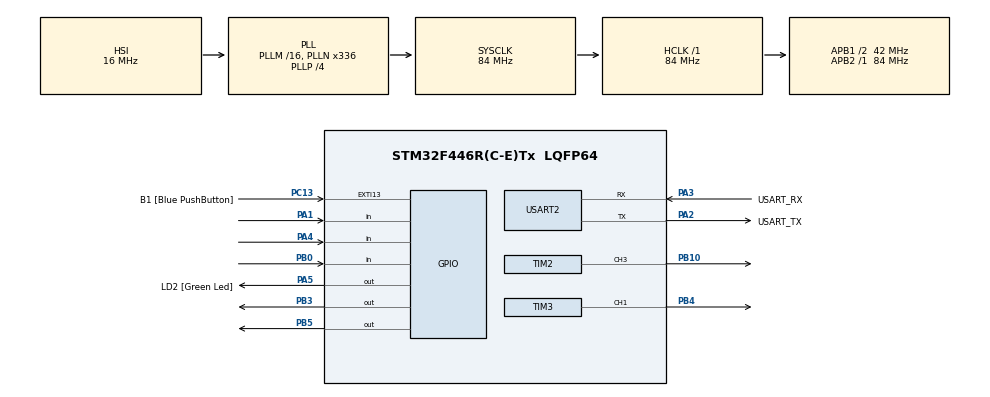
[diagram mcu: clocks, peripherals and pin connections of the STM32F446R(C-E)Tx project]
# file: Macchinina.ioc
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Mcu.Family=STM32F4
Mcu.Name=STM32F446R(C-E)Tx
Mcu.Package=LQFP64
NVIC.PriorityGroup=NVIC_PRIORITYGROUP_0
PA1.Signal=GPIO_Input
PA13.GPIO_Label=TMS
PA13.Mode=Serial_Wire
PA13.Signal=SYS_JTMS-SWDIO
PA14.GPIO_Label=TCK
PA14.Mode=Serial_Wire
PA14.Signal=SYS_JTCK-SWCLK
PA2.GPIO_Label=USART_TX
PA2.Mode=Asynchronous
PA2.Signal=USART2_TX
PA3.GPIO_Label=USART_RX
PA3.Mode=Asynchronous
PA3.Signal=USART2_RX
PA4.Signal=GPIO_Input
PA5.GPIO_Label=LD2 [Green Led]
PA5.Signal=GPIO_Output
PB0.Signal=GPIO_Input
PB10.Signal=S_TIM2_CH3
PB3.GPIO_PuPd=GPIO_PULLDOWN
PB3.PinState=GPIO_PIN_SET
PB3.Signal=GPIO_Output
PB4.Signal=S_TIM3_CH1
PB5.GPIO_PuPd=GPIO_PULLDOWN
PB5.PinState=GPIO_PIN_RESET
PB5.Signal=GPIO_Output
PC13.GPIO_Label=B1 [Blue PushButton]
PC13.GPIO_ModeDefaultEXTI=GPIO_MODE_IT_FALLING
PC13.Signal=GPXTI13
PC14-OSC32_IN.Mode=LSE-External-Oscillator
PC14-OSC32_IN.Signal=RCC_OSC32_IN
PC15-OSC32_OUT.Mode=LSE-External-Oscillator
PC15-OSC32_OUT.Signal=RCC_OSC32_OUT
PH0-OSC_IN.Mode=HSE-External-Oscillator
PH0-OSC_IN.Signal=RCC_OSC_IN
PH1-OSC_OUT.Mode=HSE-External-Oscillator
PH1-OSC_OUT.Signal=RCC_OSC_OUT
ProjectManager.HeapSize=0x200
ProjectManager.StackSize=0x400
ProjectManager.TargetToolchain=STM32CubeIDE
RCC.48MHZClocksFreq_Value=84000000
RCC.AHBFreq_Value=84000000
RCC.APB1CLKDivider=RCC_HCLK_DIV2
RCC.APB1Freq_Value=42000000
RCC.APB1TimFreq_Value=84000000
RCC.APB2Freq_Value=84000000
RCC.APB2TimFreq_Value=84000000
RCC.CortexFreq_Value=84000000
RCC.FLatency-AdvancedSettings=FLASH_LATENCY_2
RCC.HCLKFreq_Value=84000000
RCC.HSE_VALUE=8000000
RCC.HSI_VALUE=16000000
RCC.PLLN=336
RCC.PLLP=RCC_PLLP_DIV4
RCC.SYSCLKFreq_VALUE=84000000
RCC.SYSCLKSource=RCC_SYSCLKSOURCE_PLLCLK
RCC.USBFreq_Value=168000000
RCC.VCOOutputFreq_Value=336000000
SH.S_TIM2_CH3.0=TIM2_CH3,PWM Generation3 CH3
SH.S_TIM3_CH1.0=TIM3_CH1,PWM Generation1 CH1
TIM2.Channel-PWM\ Generation3\ CH3=TIM_CHANNEL_3
TIM2.Period=1000
TIM2.Prescaler=84
TIM2.Pulse-PWM\ Generation3\ CH3=800
TIM3.Channel-PWM\ Generation1\ CH1=TIM_CHANNEL_1
TIM3.Period=1000
TIM3.Prescaler=84
TIM3.Pulse-PWM\ Generation1\ CH1=800
USART2.VirtualMode=VM_ASYNC
VP_TIM2_VS_ClockSourceINT.Mode=Internal
VP_TIM3_VS_ClockSourceINT.Mode=Internal
board=NUCLEO-F446RE

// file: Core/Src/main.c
/* USER CODE BEGIN Header */
/**
  ******************************************************************************
  * @file           : main.c
  * @brief          : Main program body
  ******************************************************************************
  * @attention
  *
  * Copyright (c) 2023 STMicroelectronics.
  * All rights reserved.
  *
  * This software is licensed under terms that can be found in the LICENSE file
  * in the root directory of this software component.
  * If no LICENSE file comes with this software, it is provided AS-IS.
  *
  ******************************************************************************
  */
/* USER CODE END Header */
#include "main.h"
#include <string.h>
#include <stdio.h>
#include <stdbool.h>

TIM_HandleTypeDef htim2;
TIM_HandleTypeDef htim3;

UART_HandleTypeDef huart2;

void SystemClock_Config(void);
static void MX_GPIO_Init(void);
static void MX_USART2_UART_Init(void);
static void MX_TIM2_Init(void);
static void MX_TIM3_Init(void);

int main(void)
{
  /* USER CODE BEGIN 1 */
	char buf[1024]={'0'};

	GPIO_PinState GPIO_state1;
	GPIO_PinState GPIO_state2;
	GPIO_PinState GPIO_state3;
	bool isgoingveryleft = false;
	bool isgoingveryright = false;
  /* USER CODE END 1 */

  /* MCU Configuration--------------------------------------------------------*/

  /* Reset of all peripherals, Initializes the Flash interface and the Systick. */
  HAL_Init();

  /* Configure the system clock */
  SystemClock_Config();

  /* Initialize all configured peripherals */
  MX_GPIO_Init();
  MX_USART2_UART_Init();
  MX_TIM2_Init();
  MX_TIM3_Init();
  /* USER CODE BEGIN 2 */
  HAL_TIM_PWM_Start(&htim2, TIM_CHANNEL_3);
  HAL_TIM_PWM_Start(&htim3, TIM_CHANNEL_1);
  TIM2->CCR3=300;
  TIM3->CCR1=300;
  /* USER CODE END 2 */

  /* Infinite loop */
  while (1)
  {
	  /*HAL_Delay(3000);
	  HAL_GPIO_WritePin(GPIOB, GPIO_PIN_3, GPIO_PIN_RESET);
	  HAL_GPIO_WritePin(GPIOB, GPIO_PIN_5, GPIO_PIN_SET);
	  HAL_Delay(3000);*/
    /* USER CODE BEGIN 3 */

	  GPIO_state1 =HAL_GPIO_ReadPin(GPIOA, GPIO_PIN_1);

	  if(GPIO_state1 == GPIO_PIN_SET)
	  {
		  sprintf((char *)buf, "%s\r\n", "ACCESO1");
		  HAL_UART_Transmit(&huart2, buf, strlen((char *)buf), HAL_MAX_DELAY);
	  }
	  if(GPIO_state1 == GPIO_PIN_RESET)
	  {
		  sprintf((char *)buf, "%s\r\n", "SPENTO");
		  HAL_UART_Transmit(&huart2, buf, strlen((char *)buf), HAL_MAX_DELAY);
	  }

	  GPIO_state2 =HAL_GPIO_ReadPin(GPIOA, GPIO_PIN_4);
	  if(GPIO_state2 == GPIO_PIN_SET)
	 	  {
	 		  sprintf((char *)buf, "%s\r\n", "ACCESO2");
	 		  HAL_UART_Transmit(&huart2, buf, strlen((char *)buf), HAL_MAX_DELAY);
	 	  }
	 	  if(GPIO_state2 == GPIO_PIN_RESET)
	 	  {
	 		  sprintf((char *)buf, "%s\r\n", "SPENTO2");
	 		  HAL_UART_Transmit(&huart2, buf, strlen((char *)buf), HAL_MAX_DELAY);
	 	  }

	  GPIO_state3=HAL_GPIO_ReadPin(GPIOB, GPIO_PIN_0);

	  if(GPIO_state3 == GPIO_PIN_SET)
	 		 	  {
	 		 		  sprintf((char *)buf, "%s\r\n", "ACCESO3");
	 		 		  HAL_UART_Transmit(&huart2, buf, strlen((char *)buf), HAL_MAX_DELAY);
	 		 	  }
	 		 	  if(GPIO_state3 == GPIO_PIN_RESET)
	 		 	  {
	 		 		  sprintf((char *)buf, "%s\r\n", "SPENTO3");
	 		 		  HAL_UART_Transmit(&huart2, buf, strlen((char *)buf), HAL_MAX_DELAY);
	 		 	  }

	 	/////////	 	////////////////////////////////////////////////////////////////////////////

	  if(GPIO_state2 == GPIO_PIN_SET && GPIO_state1 == GPIO_PIN_RESET && GPIO_state3 == GPIO_PIN_RESET){
		  HAL_GPIO_WritePin(GPIOB, GPIO_PIN_3, GPIO_PIN_SET);		//DESTRA
		  HAL_GPIO_WritePin(GPIOB, GPIO_PIN_5, GPIO_PIN_RESET);  	//SINISTRA
		  TIM2->CCR3=450;
		  TIM3->CCR1=450;
	  }
	  else if(GPIO_state2 == GPIO_PIN_SET && GPIO_state1 == GPIO_PIN_SET && GPIO_state3 == GPIO_PIN_RESET){

			  HAL_GPIO_WritePin(GPIOB, GPIO_PIN_3, GPIO_PIN_SET);				// RUOTA DESTRA  NORMALE
			  HAL_GPIO_WritePin(GPIOB, GPIO_PIN_5, GPIO_PIN_SET);				// CAMBIO VERSO RUOTA SINISTRA
			  TIM3->CCR1 = 450;													//RUOTA DX
			  TIM2->CCR3 = 350;

		  isgoingveryleft = false;
		  isgoingveryright = false;
	  }
	  else if(GPIO_state2 == GPIO_PIN_RESET && GPIO_state1 == GPIO_PIN_SET && GPIO_state3 == GPIO_PIN_RESET){

			  HAL_GPIO_WritePin(GPIOB, GPIO_PIN_3, GPIO_PIN_SET);				// RUOTA DESTRA  NORMALE
			  HAL_GPIO_WritePin(GPIOB, GPIO_PIN_5, GPIO_PIN_SET);	            // RUOTA SINISTRA INDIETRO

			  TIM3->CCR1 = 500;
			  TIM2->CCR3 = 400;

		  isgoingveryleft = true;
	  }
	  else if(GPIO_state2 == GPIO_PIN_SET && GPIO_state1 == GPIO_PIN_RESET && GPIO_state3 == GPIO_PIN_SET){

			  HAL_GPIO_WritePin(GPIOB, GPIO_PIN_3, GPIO_PIN_RESET);				//CAMBIO VERSO RUOTA DESTRA
			  HAL_GPIO_WritePin(GPIOB, GPIO_PIN_5, GPIO_PIN_RESET);  			//SINISTRA NORMALE

			  TIM3->CCR1 = 350;
			  TIM2->CCR3 = 450;

		  isgoingveryright = false;
		  isgoingveryleft = false;

	  }
	  else if (GPIO_state2 == GPIO_PIN_RESET && GPIO_state1 == GPIO_PIN_RESET && GPIO_state3 == GPIO_PIN_SET){

			 HAL_GPIO_WritePin(GPIOB, GPIO_PIN_3, GPIO_PIN_RESET);				//RUOTA DESTRA
			 HAL_GPIO_WritePin(GPIOB, GPIO_PIN_5, GPIO_PIN_RESET);  			//SINISTRA NORMALE

			 TIM3->CCR1 = 400;
			 TIM2->CCR3 = 500;

		  isgoingveryright = true;
	  }
	  else if(GPIO_state2 == GPIO_PIN_RESET && GPIO_state1 == GPIO_PIN_RESET && GPIO_state3 == GPIO_PIN_RESET){
		  if(isgoingveryleft){
			  HAL_GPIO_WritePin(GPIOB, GPIO_PIN_3, GPIO_PIN_SET);				// RUOTA DESTRA  NORMALE
			  HAL_GPIO_WritePin(GPIOB, GPIO_PIN_5, GPIO_PIN_SET);	            // RUOTA SINISTRA INDIETRO
			  TIM3->CCR1 = 600;
			  TIM2->CCR3 = 400;
		  }
		  if(isgoingveryright){
			  HAL_GPIO_WritePin(GPIOB, GPIO_PIN_3, GPIO_PIN_RESET);				//RUOTA DESTRA
			  HAL_GPIO_WritePin(GPIOB, GPIO_PIN_5, GPIO_PIN_RESET);  			//SINISTRA NORMALE
		  	 TIM3->CCR1 = 400;
		  	 TIM2->CCR3 = 600;
		   }
	  }
	  HAL_Delay(1);

  }
  /* USER CODE END 3 */
}

void SystemClock_Config(void)
{
  RCC_OscInitTypeDef RCC_OscInitStruct = {0};
  RCC_ClkInitTypeDef RCC_ClkInitStruct = {0};

  /** Configure the main internal regulator output voltage
  */
  __HAL_RCC_PWR_CLK_ENABLE();
  __HAL_PWR_VOLTAGESCALING_CONFIG(PWR_REGULATOR_VOLTAGE_SCALE3);

  /** Initializes the RCC Oscillators according to the specified parameters
  * in the RCC_OscInitTypeDef structure.
  */
  RCC_OscInitStruct.OscillatorType = RCC_OSCILLATORTYPE_HSI;
  RCC_OscInitStruct.HSIState = RCC_HSI_ON;
  RCC_OscInitStruct.HSICalibrationValue = RCC_HSICALIBRATION_DEFAULT;
  RCC_OscInitStruct.PLL.PLLState = RCC_PLL_ON;
  RCC_OscInitStruct.PLL.PLLSource = RCC_PLLSOURCE_HSI;
  RCC_OscInitStruct.PLL.PLLM = 16;
  RCC_OscInitStruct.PLL.PLLN = 336;
  RCC_OscInitStruct.PLL.PLLP = RCC_PLLP_DIV4;
  RCC_OscInitStruct.PLL.PLLQ = 2;
  RCC_OscInitStruct.PLL.PLLR = 2;
  if (HAL_RCC_OscConfig(&RCC_OscInitStruct) != HAL_OK)
  {
    Error_Handler();
  }

  /** Initializes the CPU, AHB and APB buses clocks
  */
  RCC_ClkInitStruct.ClockType = RCC_CLOCKTYPE_HCLK|RCC_CLOCKTYPE_SYSCLK
                              |RCC_CLOCKTYPE_PCLK1|RCC_CLOCKTYPE_PCLK2;
  RCC_ClkInitStruct.SYSCLKSource = RCC_SYSCLKSOURCE_PLLCLK;
  RCC_ClkInitStruct.AHBCLKDivider = RCC_SYSCLK_DIV1;
  RCC_ClkInitStruct.APB1CLKDivider = RCC_HCLK_DIV2;
  RCC_ClkInitStruct.APB2CLKDivider = RCC_HCLK_DIV1;

  if (HAL_RCC_ClockConfig(&RCC_ClkInitStruct, FLASH_LATENCY_2) != HAL_OK)
  {
    Error_Handler();
  }
}

static void MX_TIM2_Init(void)
{

  TIM_ClockConfigTypeDef sClockSourceConfig = {0};
  TIM_MasterConfigTypeDef sMasterConfig = {0};
  TIM_OC_InitTypeDef sConfigOC = {0};

  htim2.Instance = TIM2;
  htim2.Init.Prescaler = 84;
  htim2.Init.CounterMode = TIM_COUNTERMODE_UP;
  htim2.Init.Period = 1000;
  htim2.Init.ClockDivision = TIM_CLOCKDIVISION_DIV1;
  htim2.Init.AutoReloadPreload = TIM_AUTORELOAD_PRELOAD_DISABLE;
  if (HAL_TIM_Base_Init(&htim2) != HAL_OK)
  {
    Error_Handler();
  }
  sClockSourceConfig.ClockSource = TIM_CLOCKSOURCE_INTERNAL;
  if (HAL_TIM_ConfigClockSource(&htim2, &sClockSourceConfig) != HAL_OK)
  {
    Error_Handler();
  }
  if (HAL_TIM_PWM_Init(&htim2) != HAL_OK)
  {
    Error_Handler();
  }
  sMasterConfig.MasterOutputTrigger = TIM_TRGO_RESET;
  sMasterConfig.MasterSlaveMode = TIM_MASTERSLAVEMODE_DISABLE;
  if (HAL_TIMEx_MasterConfigSynchronization(&htim2, &sMasterConfig) != HAL_OK)
  {
    Error_Handler();
  }
  sConfigOC.OCMode = TIM_OCMODE_PWM1;
  sConfigOC.Pulse = 800;
  sConfigOC.OCPolarity = TIM_OCPOLARITY_HIGH;
  sConfigOC.OCFastMode = TIM_OCFAST_DISABLE;
  if (HAL_TIM_PWM_ConfigChannel(&htim2, &sConfigOC, TIM_CHANNEL_3) != HAL_OK)
  {
    Error_Handler();
  }
  HAL_TIM_MspPostInit(&htim2);

}

static void MX_TIM3_Init(void)
{

  TIM_ClockConfigTypeDef sClockSourceConfig = {0};
  TIM_MasterConfigTypeDef sMasterConfig = {0};
  TIM_OC_InitTypeDef sConfigOC = {0};

  htim3.Instance = TIM3;
  htim3.Init.Prescaler = 84;
  htim3.Init.CounterMode = TIM_COUNTERMODE_UP;
  htim3.Init.Period = 1000;
  htim3.Init.ClockDivision = TIM_CLOCKDIVISION_DIV1;
  htim3.Init.AutoReloadPreload = TIM_AUTORELOAD_PRELOAD_DISABLE;
  if (HAL_TIM_Base_Init(&htim3) != HAL_OK)
  {
    Error_Handler();
  }
  sClockSourceConfig.ClockSource = TIM_CLOCKSOURCE_INTERNAL;
  if (HAL_TIM_ConfigClockSource(&htim3, &sClockSourceConfig) != HAL_OK)
  {
    Error_Handler();
  }
  if (HAL_TIM_PWM_Init(&htim3) != HAL_OK)
  {
    Error_Handler();
  }
  sMasterConfig.MasterOutputTrigger = TIM_TRGO_RESET;
  sMasterConfig.MasterSlaveMode = TIM_MASTERSLAVEMODE_DISABLE;
  if (HAL_TIMEx_MasterConfigSynchronization(&htim3, &sMasterConfig) != HAL_OK)
  {
    Error_Handler();
  }
  sConfigOC.OCMode = TIM_OCMODE_PWM1;
  sConfigOC.Pulse = 800;
  sConfigOC.OCPolarity = TIM_OCPOLARITY_HIGH;
  sConfigOC.OCFastMode = TIM_OCFAST_DISABLE;
  if (HAL_TIM_PWM_ConfigChannel(&htim3, &sConfigOC, TIM_CHANNEL_1) != HAL_OK)
  {
    Error_Handler();
  }
  HAL_TIM_MspPostInit(&htim3);

}

static void MX_USART2_UART_Init(void)
{

  huart2.Instance = USART2;
  huart2.Init.BaudRate = 9600;
  huart2.Init.WordLength = UART_WORDLENGTH_8B;
  huart2.Init.StopBits = UART_STOPBITS_1;
  huart2.Init.Parity = UART_PARITY_NONE;
  huart2.Init.Mode = UART_MODE_TX_RX;
  huart2.Init.HwFlowCtl = UART_HWCONTROL_NONE;
  huart2.Init.OverSampling = UART_OVERSAMPLING_16;
  if (HAL_UART_Init(&huart2) != HAL_OK)
  {
    Error_Handler();
  }

}

static void MX_GPIO_Init(void)
{
  GPIO_InitTypeDef GPIO_InitStruct = {0};

  /* GPIO Ports Clock Enable */
  __HAL_RCC_GPIOC_CLK_ENABLE();
  __HAL_RCC_GPIOH_CLK_ENABLE();
  __HAL_RCC_GPIOA_CLK_ENABLE();
  __HAL_RCC_GPIOB_CLK_ENABLE();

  /*Configure GPIO pin Output Level */
  HAL_GPIO_WritePin(LD2_GPIO_Port, LD2_Pin, GPIO_PIN_RESET);

  /*Configure GPIO pin Output Level */
  HAL_GPIO_WritePin(GPIOB, GPIO_PIN_3, GPIO_PIN_SET);

  /*Configure GPIO pin Output Level */
  HAL_GPIO_WritePin(GPIOB, GPIO_PIN_5, GPIO_PIN_RESET);

  /*Configure GPIO pin : B1_Pin */
  GPIO_InitStruct.Pin = B1_Pin;
  GPIO_InitStruct.Mode = GPIO_MODE_IT_FALLING;
  GPIO_InitStruct.Pull = GPIO_NOPULL;
  HAL_GPIO_Init(B1_GPIO_Port, &GPIO_InitStruct);

  /*Configure GPIO pins : PA1 PA4 */
  GPIO_InitStruct.Pin = GPIO_PIN_1|GPIO_PIN_4;
  GPIO_InitStruct.Mode = GPIO_MODE_INPUT;
  GPIO_InitStruct.Pull = GPIO_NOPULL;
  HAL_GPIO_Init(GPIOA, &GPIO_InitStruct);

  /*Configure GPIO pin : LD2_Pin */
  GPIO_InitStruct.Pin = LD2_Pin;
  GPIO_InitStruct.Mode = GPIO_MODE_OUTPUT_PP;
  GPIO_InitStruct.Pull = GPIO_NOPULL;
  GPIO_InitStruct.Speed = GPIO_SPEED_FREQ_LOW;
  HAL_GPIO_Init(LD2_GPIO_Port, &GPIO_InitStruct);

  /*Configure GPIO pin : PB0 */
  GPIO_InitStruct.Pin = GPIO_PIN_0;
  GPIO_InitStruct.Mode = GPIO_MODE_INPUT;
  GPIO_InitStruct.Pull = GPIO_NOPULL;
  HAL_GPIO_Init(GPIOB, &GPIO_InitStruct);

  /*Configure GPIO pins : PB3 PB5 */
  GPIO_InitStruct.Pin = GPIO_PIN_3|GPIO_PIN_5;
  GPIO_InitStruct.Mode = GPIO_MODE_OUTPUT_PP;
  GPIO_InitStruct.Pull = GPIO_PULLDOWN;
  GPIO_InitStruct.Speed = GPIO_SPEED_FREQ_LOW;
  HAL_GPIO_Init(GPIOB, &GPIO_InitStruct);

}

void Error_Handler(void)
{
  __disable_irq();
  while (1)
  {
  }
}
